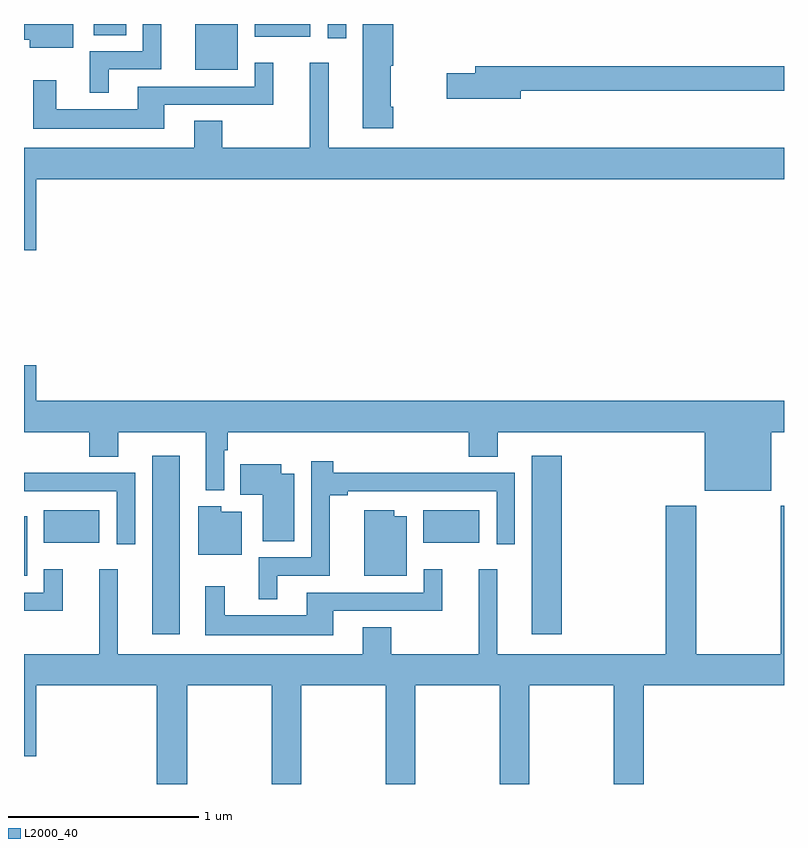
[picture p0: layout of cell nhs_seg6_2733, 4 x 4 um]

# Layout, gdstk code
import gdstk
lib = gdstk.Library(unit=1e-6, precision=1e-09)
def R(c, l, rs):  # rectangles x0, y0, x1, y1
    for r in rs: c.add(gdstk.rectangle(r[:2], r[2:], *l))
def P(c, l, *ps):  # polygons
    for p in ps: c.add(gdstk.Polygon(p, *l))
L2000_40 = (2000, 40)

nhs_seg6_2733 = lib.new_cell('nhs_seg6_2733')
R(nhs_seg6_2733, L2000_40, [(273.674,930.288,273.82,931.228), (275.672,930.288,275.831,931.228), (273,930.596,273.016,930.91), (273.104,930.77,273.397,930.94), (275.102,930.77,275.395,930.94), (273.902,933.26,274.126,933.5), (274.599,933.426,274.695,933.5), (274.214,933.434,274.507,933.5), (273.368,933.442,273.539,933.5)])
P(nhs_seg6_2733, L2000_40, [(273.445,933.261),(273.722,933.261),(273.722,933.5),(273.624,933.5),(273.624,933.357),(273.347,933.357),(273.347,933.137),(273.445,933.137)],
  [(274.943,933.064),(274.93,933.064),(274.93,933.281),(274.943,933.281),(274.943,933.5),(274.784,933.5),(274.784,932.952),(274.943,932.952)],
  [(273.259,933.5),(273,933.5),(273,933.418),(273.029,933.418),(273.029,933.374),(273.259,933.374)],
  [(273.739,933.075),(274.313,933.075),(274.313,933.295),(274.215,933.295),(274.215,933.171),(273.599,933.171),(273.599,933.052),(273.169,933.052),(273.169,933.205),(273.048,933.205),(273.048,932.948),(273.739,932.948)],
  [(273.064,932.684),(277,932.684),(277,932.848),(274.604,932.848),(274.604,933.295),(274.505,933.295),(274.505,932.848),(274.044,932.848),(274.044,932.99),(273.896,932.99),(273.896,932.848),(273,932.848),(273,932.31),(273.064,932.31)],
  [(275.614,933.15),(277,933.15),(277,933.278),(275.375,933.278),(275.375,933.242),(275.226,933.242),(275.226,933.107),(275.614,933.107)],
  [(276.934,931.352),(277,931.352),(277,931.516),(273.064,931.516),(273.064,931.705),(273,931.705),(273,931.352),(273.344,931.352),(273.344,931.222),(273.496,931.222),(273.496,931.352),(273.956,931.352),(273.956,931.046),(274.053,931.046),(274.053,931.256),(274.073,931.256),(274.073,931.352),(275.342,931.352),(275.342,931.222),(275.494,931.222),(275.494,931.352),(276.584,931.352),(276.584,931.043),(276.934,931.043)],
  [(274.333,930.597),(274.61,930.597),(274.61,931.021),(274.705,931.021),(274.705,931.041),(275.487,931.041),(275.487,930.762),(275.583,930.762),(275.583,931.137),(275.258,931.137),(275.258,931.139),(274.628,931.139),(274.628,931.198),(274.512,931.198),(274.512,930.693),(274.235,930.693),(274.235,930.473),(274.333,930.473)],
  [(274.423,931.132),(274.354,931.132),(274.354,931.183),(274.138,931.183),(274.138,931.022),(274.256,931.022),(274.256,930.778),(274.423,930.778)],
  [(273.585,931.137),(273.26,931.137),(273.26,931.139),(273,931.139),(273,931.041),(273.489,931.041),(273.489,930.762),(273.585,930.762)],
  [(273.858,930.02),(274.303,930.02),(274.303,929.5),(274.458,929.5),(274.458,930.02),(274.903,930.02),(274.903,929.5),(275.058,929.5),(275.058,930.02),(275.503,930.02),(275.503,929.5),(275.658,929.5),(275.658,930.02),(276.103,930.02),(276.103,929.5),(276.263,929.5),(276.263,930.02),(277,930.02),(277,930.964),(276.982,930.964),(276.982,930.184),(276.537,930.184),(276.537,930.964),(276.377,930.964),(276.377,930.184),(275.492,930.184),(275.492,930.631),(275.393,930.631),(275.393,930.184),(274.932,930.184),(274.932,930.326),(274.784,930.326),(274.784,930.184),(273.494,930.184),(273.494,930.631),(273.395,930.631),(273.395,930.184),(273,930.184),(273,929.646),(273.064,929.646),(273.064,930.02),(273.698,930.02),(273.698,929.5),(273.858,929.5)],
  [(274.147,930.934),(274.038,930.934),(274.038,930.961),(273.917,930.961),(273.917,930.707),(274.147,930.707)],
  [(275.014,930.91),(274.948,930.91),(274.948,930.94),(274.79,930.94),(274.79,930.596),(275.014,930.596)],
  [(274.627,930.411),(275.201,930.411),(275.201,930.631),(275.103,930.631),(275.103,930.507),(274.487,930.507),(274.487,930.388),(274.057,930.388),(274.057,930.541),(273.953,930.541),(273.953,930.284),(274.627,930.284)],
  [(273.203,930.631),(273.105,930.631),(273.105,930.507),(273,930.507),(273,930.411),(273.203,930.411)])

lib.write_gds('nhs_seg6_2733.gds')
